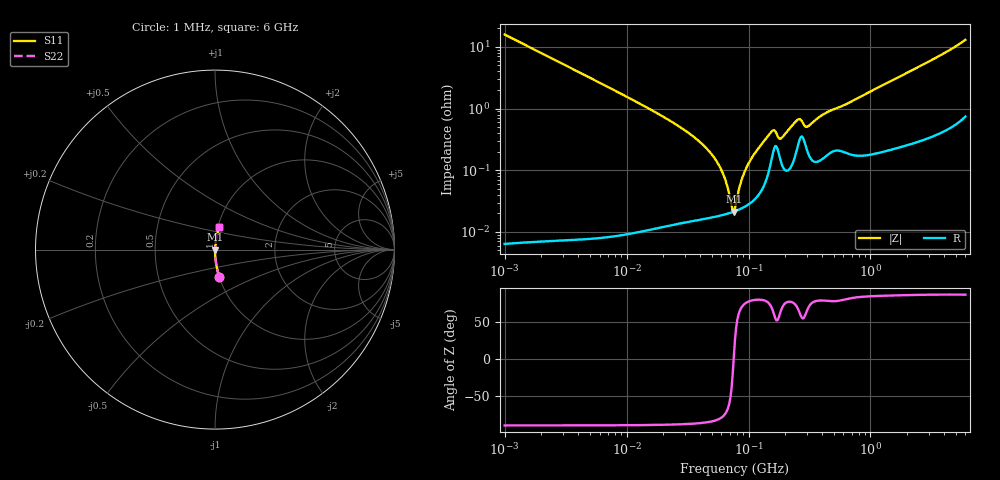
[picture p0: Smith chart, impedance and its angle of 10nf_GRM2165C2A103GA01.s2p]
!Murata Part Number: GRM2165C2A103GA01
!These Parameters are Measured in Series Mode Connection
!  o--ll--o
!Port1  Port2
!  o------o
!Operation Temp=25[degC], DC Bias Voltage=0[V]
!Freq. Start=1[MHz] Stop=6[GHz], 401[Steps]
!Data Generated on Mar 5, 2019
# Hz S RI R 50
!Freq.(Hz) S11(Real) S11(Imag) S21(Real) S21(Imag) S12(Real) S12(Imag) S22(Real) S22(Imag)
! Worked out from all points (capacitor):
!   401 points, 1 MHz to 6 GHz, reference 50 ohm
!   read as one part in series: C = 10 nF near 1.044 MHz
!   lowest |Z| = 21.4 mohm at 75.79 MHz (marker M1)
!   series resonance near 75.54 MHz, so ESL is about 440 pH
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1000000  0.0247 -0.1551  0.9753 0.1551  0.9753 0.1551  0.0247 -0.1551
4293785  0.00144 -0.0369  0.9986 0.0369  0.9986 0.0369  0.00144 -0.0369
1.843659e7  0.000182 -0.00809  0.9998 0.00809  0.9998 0.00809  0.000182 -0.00809
3.389622e7  0.000162 -0.00374  0.9998 0.00374  0.9998 0.00374  0.000162 -0.00374
4.905945e7  0.000174 -0.00188  0.9998 0.00188  0.9998 0.00188  0.000174 -0.00188
6.097846e7  0.000188 -0.000917  0.9998 0.000917  0.9998 0.000917  0.000188 -0.000917
6.652088e7  0.000197 -0.000544  0.9998 0.000544  0.9998 0.000544  0.000197 -0.000544
7.256705e7  0.000207 -0.000172  0.9998 0.000172  0.9998 0.000172  0.000207 -0.000172
7.57932e7  0.000213 1.43e-05  0.9998 -1.43e-05  0.9998 -1.43e-05  0.000213 1.43e-05
7.745967e7  0.000217 0.000108  0.9998 -0.000108  0.9998 -0.000108  0.000217 0.000108
8.825674e7  0.000243 0.000679  0.9998 -0.000679  0.9998 -0.000679  0.000243 0.000679
9.83954e7  0.000275 0.00118  0.9997 -0.00118  0.9997 -0.00118  0.000275 0.00118
1.520136e8  0.0013 0.00389  0.9987 -0.00389  0.9987 -0.00389  0.0013 0.00389
1.622626e8  0.00227 0.00382  0.9977 -0.00382  0.9977 -0.00382  0.00227 0.00382
1.848803e8  0.00136 0.00299  0.9986 -0.00299  0.9986 -0.00299  0.00136 0.00299
2.506837e8  0.00229 0.00607  0.9977 -0.00607  0.9977 -0.00607  0.00229 0.00607
2.675853e8  0.00346 0.00561  0.9965 -0.00561  0.9965 -0.00561  0.00346 0.00561
2.983246e8  0.00228 0.0045  0.9977 -0.0045  0.9977 -0.0045  0.00228 0.0045
3.325952e8  0.00147 0.00567  0.9985 -0.00567  0.9985 -0.00567  0.00147 0.00567
4.31778e8  0.00176 0.00834  0.9982 -0.00834  0.9982 -0.00834  0.00176 0.00834
1.428092e9  0.00284 0.027  0.9972 -0.027  0.9972 -0.027  0.00284 0.027
6e9  0.0237 0.1262  0.9763 -0.1262  0.9763 -0.1262  0.0237 0.1262
